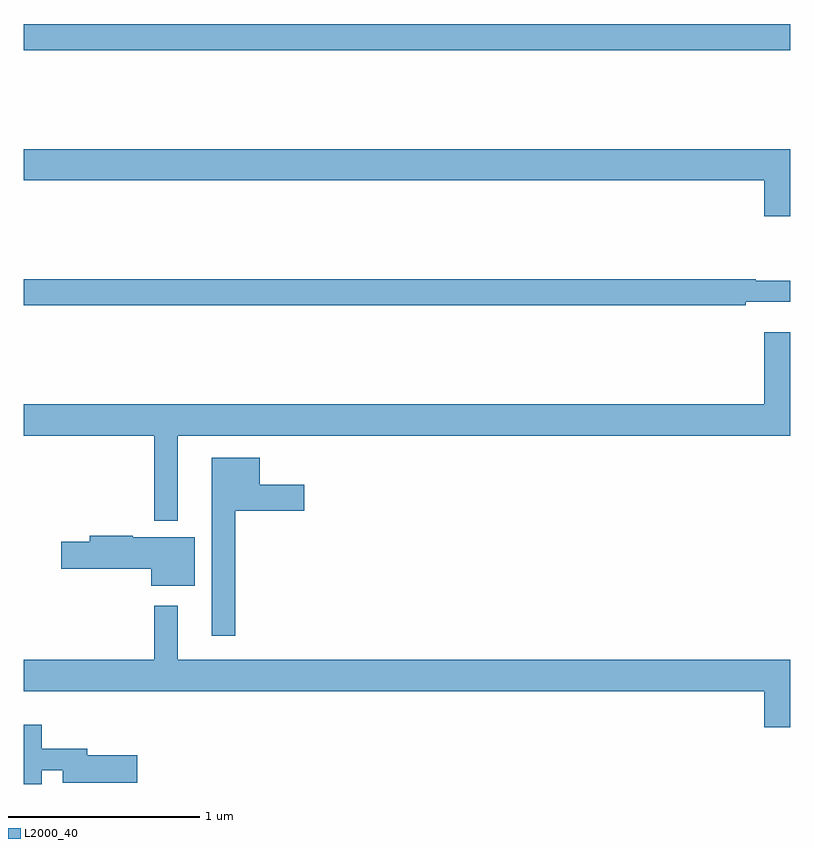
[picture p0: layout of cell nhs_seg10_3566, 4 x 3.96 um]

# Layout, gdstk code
import gdstk
lib = gdstk.Library(unit=1e-6, precision=1e-09)
def R(c, l, rs):  # rectangles x0, y0, x1, y1
    for r in rs: c.add(gdstk.rectangle(r[:2], r[2:], *l))
def P(c, l, *ps):  # polygons
    for p in ps: c.add(gdstk.Polygon(p, *l))
L2000_40 = (2000, 40)

nhs_seg10_3566 = lib.new_cell('nhs_seg10_3566')
R(nhs_seg10_3566, L2000_40, [(305,1302.328,309,1302.464)])
P(nhs_seg10_3566, L2000_40, [(309,1301.812),(305,1301.812),(305,1301.648),(308.864,1301.648),(308.864,1301.46),(309,1301.46)],
  [(308.768,1301.015),(309,1301.015),(309,1301.125),(308.818,1301.125),(308.818,1301.132),(305,1301.132),(305,1300.996),(308.768,1300.996)],
  [(305.803,1300.316),(309,1300.316),(309,1300.855),(308.864,1300.855),(308.864,1300.48),(305,1300.48),(305,1300.316),(305.682,1300.316),(305.682,1299.979),(305.683,1299.979),(305.683,1299.872),(305.803,1299.872)],
  [(306.103,1299.926),(306.463,1299.926),(306.463,1300.06),(306.232,1300.06),(306.232,1300.201),(305.981,1300.201),(305.981,1299.273),(306.103,1299.273)],
  [(305.893,1299.787),(305.57,1299.787),(305.57,1299.794),(305.345,1299.794),(305.345,1299.764),(305.196,1299.764),(305.196,1299.622),(305.666,1299.622),(305.666,1299.533),(305.893,1299.533)],
  [(309,1299.148),(305.803,1299.148),(305.803,1299.43),(305.682,1299.43),(305.682,1299.148),(305,1299.148),(305,1298.984),(308.864,1298.984),(308.864,1298.796),(309,1298.796)],
  [(305.096,1298.573),(305.204,1298.573),(305.204,1298.507),(305.593,1298.507),(305.593,1298.649),(305.332,1298.649),(305.332,1298.683),(305.096,1298.683),(305.096,1298.809),(305,1298.809),(305,1298.5),(305.096,1298.5)])

lib.write_gds('nhs_seg10_3566.gds')
